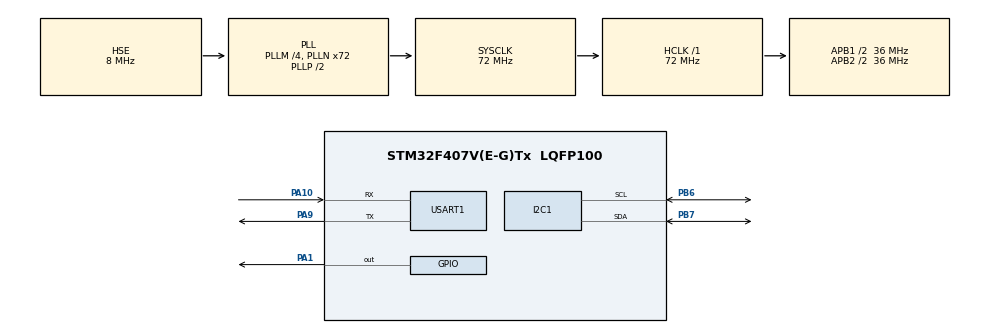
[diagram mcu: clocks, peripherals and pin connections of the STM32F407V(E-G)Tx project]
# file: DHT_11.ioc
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I2C1.I2C_Mode=I2C_Fast
Mcu.Family=STM32F4
Mcu.Name=STM32F407V(E-G)Tx
Mcu.Package=LQFP100
NVIC.PriorityGroup=NVIC_PRIORITYGROUP_4
PA1.Signal=GPIO_Output
PA10.Mode=Asynchronous
PA10.Signal=USART1_RX
PA9.Mode=Asynchronous
PA9.Signal=USART1_TX
PB6.Mode=I2C
PB6.Signal=I2C1_SCL
PB7.Mode=I2C
PB7.Signal=I2C1_SDA
PH0-OSC_IN.Mode=HSE-External-Oscillator
PH0-OSC_IN.Signal=RCC_OSC_IN
PH1-OSC_OUT.Mode=HSE-External-Oscillator
PH1-OSC_OUT.Signal=RCC_OSC_OUT
ProjectManager.HeapSize=0x200
ProjectManager.StackSize=0x400
ProjectManager.TargetToolchain=STM32CubeIDE
RCC.48MHZClocksFreq_Value=36000000
RCC.AHBFreq_Value=72000000
RCC.APB1CLKDivider=RCC_HCLK_DIV2
RCC.APB1Freq_Value=36000000
RCC.APB1TimFreq_Value=72000000
RCC.APB2CLKDivider=RCC_HCLK_DIV2
RCC.APB2Freq_Value=36000000
RCC.APB2TimFreq_Value=72000000
RCC.CortexFreq_Value=72000000
RCC.HCLKFreq_Value=72000000
RCC.HSE_VALUE=8000000
RCC.HSI_VALUE=16000000
RCC.LSE_VALUE=32768
RCC.PLLM=4
RCC.PLLN=72
RCC.PLLSourceVirtual=RCC_PLLSOURCE_HSE
RCC.SYSCLKFreq_VALUE=72000000
RCC.SYSCLKSource=RCC_SYSCLKSOURCE_PLLCLK
RCC.VCOOutputFreq_Value=144000000
TIM1.Prescaler=49
USART1.VirtualMode=VM_ASYNC
VP_TIM1_VS_ClockSourceINT.Mode=Internal
board=custom

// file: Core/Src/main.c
/* USER CODE BEGIN Header */
/**
  ******************************************************************************
  * @file           : main.c
  * @brief          : Main program body
  ******************************************************************************
  * @attention
  *
  * <h2><center>&copy; Copyright (c) 2020 STMicroelectronics.
  * All rights reserved.</center></h2>
  *
  * This software component is licensed by ST under BSD 3-Clause license,
  * the "License"; You may not use this file except in compliance with the
  * License. You may obtain a copy of the License at:
  *                        opensource.org/licenses/BSD-3-Clause
  *
  ******************************************************************************
  */
/* USER CODE END Header */
#include "main.h"

/* USER CODE BEGIN Includes */
#include "BMP180.h"
#include "DHT.h"
#include "ssd1306.h"
#include "stdio.h"

/* USER CODE END Includes */

I2C_HandleTypeDef hi2c1;

TIM_HandleTypeDef htim1;

UART_HandleTypeDef huart1;

void SystemClock_Config(void);
static void MX_GPIO_Init(void);
static void MX_I2C1_Init(void);
static void MX_TIM1_Init(void);
static void MX_USART1_UART_Init(void);

/* USER CODE BEGIN 0 */

/* DEFINE THE DHT DataTypedef
* Look in the DHT.h for the definition
*/
DHT_DataTypedef DHT11_Data;
float Temperature ;
float Pressure ;
float Altitude ;
float Humidity;

char Temperature1[10];
char Pressure1[10];
char Altitude1[10];
char Humidity1[10];

void USART1_SendString(char *str)
{
    HAL_UART_Transmit(&huart1, (uint8_t*)str, strlen(str), HAL_MAX_DELAY);
}

void microDelay (uint16_t delay)
{
  __HAL_TIM_SET_COUNTER(&htim1, 0);
  while (__HAL_TIM_GET_COUNTER(&htim1) < delay);
}

/* USER CODE END 0 */

int main(void)
{

  /* MCU Configuration--------------------------------------------------------*/

  /* Reset of all peripherals, Initializes the Flash interface and the Systick. */
  HAL_Init();

  /* Configure the system clock */
  SystemClock_Config();

  /* Initialize all configured peripherals */
  MX_GPIO_Init();
  MX_I2C1_Init();
  MX_TIM1_Init();
  MX_USART1_UART_Init();
  /* USER CODE BEGIN 2 */

   DHT_GetData(&DHT11_Data);
   BMP180_Start();
   SSD1306_Init();

    SSD1306_GotoXY (35,0);
    SSD1306_Puts ("WEATHER", &Font_11x18, 1);
    SSD1306_GotoXY (10,20);
    SSD1306_Puts ("STATION", &Font_11x18, 1);
    SSD1306_GotoXY (30,40);
    SSD1306_Puts ("", &Font_11x18, 1);
    SSD1306_GotoXY (20,40);
    SSD1306_UpdateScreen(); //display
    HAL_Delay(2000);
    SSD1306_Clear();

  /* USER CODE END 2 */

  /* Infinite loop */
  while (1)
  {

    /* USER CODE BEGIN 3 */

	  DHT_GetData(&DHT11_Data);
  	  //Temperature = DHT11_Data.Temperature;
	  Humidity = DHT11_Data.Humidity;
	  Temperature = BMP180_GetTemp();
	  Pressure =  BMP180_GetPress (0)/100;
	  Altitude = BMP180_GetAlt(0);

	/*
	  // Envoi des données à ThingSpeak
	  USART1_SendString("AT\r\n");
	  HAL_Delay(1000);
	  USART1_SendString("AT+RST\r\n");
	  HAL_Delay(2000);
	  USART1_SendString("AT+CWMODE=1\r\n");
	  HAL_Delay(1000);
	  USART1_SendString("AT+CWJAP=\"TOPNET_MHFW\",\"x8mhwqhqob\"\r\n"); // Remplacez par votre SSID et mot de passe WiFi
	  USART1_SendString("AT+CIPMUX=0\r\n");
      HAL_Delay(1000);
	  USART1_SendString("AT+CIPSTART=\"TCP\",\"184.106.153.149\",80\r\n");
      HAL_Delay(2000);

	  // Construire la commande GET pour ThingSpeak avec les données actuelles
	  char sendCmd[256];
	  char getCmd[200];
	  sprintf(getCmd, "GET /update?api_key=TOFR9ZY4R3WBF5UN&field1=%.2f&field2=%.2f&field3=%.2f&field4=%.2f\r\n", Temperature, Humidity, Altitude, Pressure);
	  int cmdLength = strlen(getCmd);
	  sprintf(sendCmd, "AT+CIPSEND=%d\r\n", cmdLength);
	  USART1_SendString(sendCmd);
	  HAL_Delay(2000);
	  USART1_SendString(getCmd);

*/
	  /***********To display on OLED**************/

	  	  SSD1306_GotoXY (35,0);
	  	  SSD1306_Puts ("BMP180", &Font_11x18, 1);
	  	  SSD1306_GotoXY (0,0);
	  	  SSD1306_Puts ("Temperature", &Font_11x18, 1);
	  	  SSD1306_GotoXY (20,40);
	  	  sprintf(Temperature1, "%.2f", Temperature);
	  	  SSD1306_Puts(Temperature1, &Font_11x18, 1);
	  	  SSD1306_DrawCircle(80, 40, 2, 1);  //To print degree only
	  	  SSD1306_GotoXY (85,40);  //To print celcius
	  	  SSD1306_Puts ("C", &Font_11x18, 1);
	  	  SSD1306_UpdateScreen(); //display
	  	  HAL_Delay(2000);
	  	  SSD1306_Clear();

	  	  SSD1306_GotoXY (20,0);
	  	  SSD1306_Puts ("Humidity", &Font_11x18, 1);
	  	  SSD1306_GotoXY (10,40);
	  	  sprintf(Humidity1, "%.2f", Humidity);
	  	  SSD1306_Puts(Humidity1, &Font_11x18, 1);
	  	  SSD1306_GotoXY (100,40);
	  	  SSD1306_Puts ("%", &Font_11x18, 1);
	  	  SSD1306_UpdateScreen(); //display
	  	  HAL_Delay(2000);
	  	  SSD1306_Clear();

	  	  SSD1306_GotoXY (20,0);
	  	  SSD1306_Puts ("Pressure", &Font_11x18, 1);
	  	  SSD1306_GotoXY (10,40);
	  	  sprintf(Pressure1, "%.2f", Pressure);
	  	  SSD1306_Puts(Pressure1, &Font_11x18, 1);
	  	  SSD1306_GotoXY (100,40);
	  	  SSD1306_Puts ("pa", &Font_11x18, 1);
	  	  SSD1306_UpdateScreen(); //display
	  	  HAL_Delay(2000);
	  	  SSD1306_Clear();

	  	  SSD1306_GotoXY (20,0);
	  	  SSD1306_Puts ("Altitude", &Font_11x18, 1);
	  	  SSD1306_GotoXY (15,40);
	  	  sprintf(Altitude1, "%.2f", Altitude);
	  	  SSD1306_Puts(Altitude1, &Font_11x18, 1);
	  	  SSD1306_GotoXY (90,40);
	  	  SSD1306_Puts ("m", &Font_11x18, 1);
	  	  SSD1306_UpdateScreen(); //display
	  	  HAL_Delay(2000);
	  	  SSD1306_Clear();

	  HAL_Delay(2000);
  }
  /* USER CODE END 3 */
}

void SystemClock_Config(void)
{
  RCC_OscInitTypeDef RCC_OscInitStruct = {0};
  RCC_ClkInitTypeDef RCC_ClkInitStruct = {0};

  /** Configure the main internal regulator output voltage
  */
  __HAL_RCC_PWR_CLK_ENABLE();
  __HAL_PWR_VOLTAGESCALING_CONFIG(PWR_REGULATOR_VOLTAGE_SCALE1);

  /** Initializes the RCC Oscillators according to the specified parameters
  * in the RCC_OscInitTypeDef structure.
  */
  RCC_OscInitStruct.OscillatorType = RCC_OSCILLATORTYPE_HSE;
  RCC_OscInitStruct.HSEState = RCC_HSE_ON;
  RCC_OscInitStruct.PLL.PLLState = RCC_PLL_ON;
  RCC_OscInitStruct.PLL.PLLSource = RCC_PLLSOURCE_HSE;
  RCC_OscInitStruct.PLL.PLLM = 4;
  RCC_OscInitStruct.PLL.PLLN = 72;
  RCC_OscInitStruct.PLL.PLLP = RCC_PLLP_DIV2;
  RCC_OscInitStruct.PLL.PLLQ = 4;
  if (HAL_RCC_OscConfig(&RCC_OscInitStruct) != HAL_OK)
  {
    Error_Handler();
  }

  /** Initializes the CPU, AHB and APB buses clocks
  */
  RCC_ClkInitStruct.ClockType = RCC_CLOCKTYPE_HCLK|RCC_CLOCKTYPE_SYSCLK
                              |RCC_CLOCKTYPE_PCLK1|RCC_CLOCKTYPE_PCLK2;
  RCC_ClkInitStruct.SYSCLKSource = RCC_SYSCLKSOURCE_PLLCLK;
  RCC_ClkInitStruct.AHBCLKDivider = RCC_SYSCLK_DIV1;
  RCC_ClkInitStruct.APB1CLKDivider = RCC_HCLK_DIV2;
  RCC_ClkInitStruct.APB2CLKDivider = RCC_HCLK_DIV2;

  if (HAL_RCC_ClockConfig(&RCC_ClkInitStruct, FLASH_LATENCY_2) != HAL_OK)
  {
    Error_Handler();
  }
}

static void MX_I2C1_Init(void)
{

  hi2c1.Instance = I2C1;
  hi2c1.Init.ClockSpeed = 400000;
  hi2c1.Init.DutyCycle = I2C_DUTYCYCLE_2;
  hi2c1.Init.OwnAddress1 = 0;
  hi2c1.Init.AddressingMode = I2C_ADDRESSINGMODE_7BIT;
  hi2c1.Init.DualAddressMode = I2C_DUALADDRESS_DISABLE;
  hi2c1.Init.OwnAddress2 = 0;
  hi2c1.Init.GeneralCallMode = I2C_GENERALCALL_DISABLE;
  hi2c1.Init.NoStretchMode = I2C_NOSTRETCH_DISABLE;
  if (HAL_I2C_Init(&hi2c1) != HAL_OK)
  {
    Error_Handler();
  }

}

static void MX_TIM1_Init(void)
{

  TIM_ClockConfigTypeDef sClockSourceConfig = {0};
  TIM_MasterConfigTypeDef sMasterConfig = {0};

  htim1.Instance = TIM1;
  htim1.Init.Prescaler = 49;
  htim1.Init.CounterMode = TIM_COUNTERMODE_UP;
  htim1.Init.Period = 65535;
  htim1.Init.ClockDivision = TIM_CLOCKDIVISION_DIV1;
  htim1.Init.RepetitionCounter = 0;
  htim1.Init.AutoReloadPreload = TIM_AUTORELOAD_PRELOAD_DISABLE;
  if (HAL_TIM_Base_Init(&htim1) != HAL_OK)
  {
    Error_Handler();
  }
  sClockSourceConfig.ClockSource = TIM_CLOCKSOURCE_INTERNAL;
  if (HAL_TIM_ConfigClockSource(&htim1, &sClockSourceConfig) != HAL_OK)
  {
    Error_Handler();
  }
  sMasterConfig.MasterOutputTrigger = TIM_TRGO_RESET;
  sMasterConfig.MasterSlaveMode = TIM_MASTERSLAVEMODE_DISABLE;
  if (HAL_TIMEx_MasterConfigSynchronization(&htim1, &sMasterConfig) != HAL_OK)
  {
    Error_Handler();
  }

}

static void MX_USART1_UART_Init(void)
{

  huart1.Instance = USART1;
  huart1.Init.BaudRate = 115200;
  huart1.Init.WordLength = UART_WORDLENGTH_8B;
  huart1.Init.StopBits = UART_STOPBITS_1;
  huart1.Init.Parity = UART_PARITY_NONE;
  huart1.Init.Mode = UART_MODE_TX_RX;
  huart1.Init.HwFlowCtl = UART_HWCONTROL_NONE;
  huart1.Init.OverSampling = UART_OVERSAMPLING_16;
  if (HAL_UART_Init(&huart1) != HAL_OK)
  {
    Error_Handler();
  }

}

static void MX_GPIO_Init(void)
{
  GPIO_InitTypeDef GPIO_InitStruct = {0};

  /* GPIO Ports Clock Enable */
  __HAL_RCC_GPIOH_CLK_ENABLE();
  __HAL_RCC_GPIOA_CLK_ENABLE();
  __HAL_RCC_GPIOB_CLK_ENABLE();

  /*Configure GPIO pin Output Level */
  HAL_GPIO_WritePin(GPIOA, GPIO_PIN_1, GPIO_PIN_RESET);

  /*Configure GPIO pin : PA1 */
  GPIO_InitStruct.Pin = GPIO_PIN_1;
  GPIO_InitStruct.Mode = GPIO_MODE_OUTPUT_PP;
  GPIO_InitStruct.Pull = GPIO_NOPULL;
  GPIO_InitStruct.Speed = GPIO_SPEED_FREQ_LOW;
  HAL_GPIO_Init(GPIOA, &GPIO_InitStruct);

}

void Error_Handler(void)
{
}
